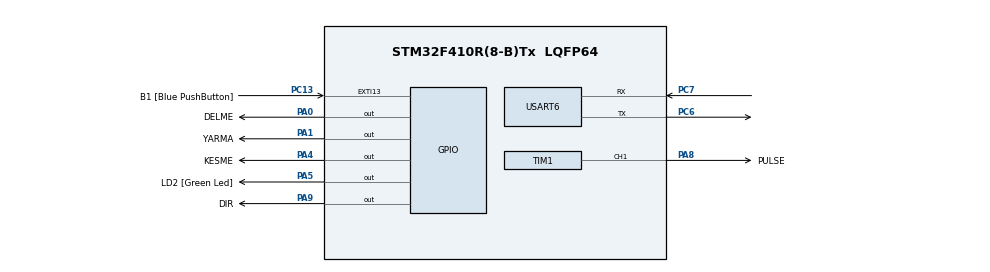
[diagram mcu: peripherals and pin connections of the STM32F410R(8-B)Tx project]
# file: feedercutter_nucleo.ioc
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Mcu.Family=STM32F4
Mcu.Name=STM32F410R(8-B)Tx
Mcu.Package=LQFP64
NVIC.PriorityGroup=NVIC_PRIORITYGROUP_0
NVIC.TIM1_UP_IRQn=true\:0\:0\:false\:false\:true\:true\:true\:true
PA0-WKUP.GPIO_Label=DELME
PA0-WKUP.Signal=GPIO_Output
PA1.GPIO_Label=YARMA
PA1.Signal=GPIO_Output
PA13.GPIO_Label=TMS
PA13.Mode=Serial_Wire
PA13.Signal=SYS_JTMS-SWDIO
PA14.GPIO_Label=TCK
PA14.Mode=Serial_Wire
PA14.Signal=SYS_JTCK-SWCLK
PA2.GPIO_Label=USART_TX
PA2.Signal=USART2_TX
PA3.GPIO_Label=USART_RX
PA3.Signal=USART2_RX
PA4.GPIO_Label=KESME
PA4.Signal=GPIO_Output
PA5.GPIO_Label=LD2 [Green Led]
PA5.Signal=GPIO_Output
PA8.GPIO_Label=PULSE
PA8.Signal=S_TIM1_CH1
PA9.GPIO_Label=DIR
PA9.Signal=GPIO_Output
PB3.GPIO_Label=SWO
PB3.Signal=SYS_JTDO-SWO
PC13-ANTI_TAMP.GPIO_Label=B1 [Blue PushButton]
PC13-ANTI_TAMP.GPIO_ModeDefaultEXTI=GPIO_MODE_IT_FALLING
PC13-ANTI_TAMP.Signal=GPXTI13
PC14-OSC32_IN.Mode=LSE-External-Oscillator
PC14-OSC32_IN.Signal=RCC_OSC32_IN
PC15-OSC32_OUT.Mode=LSE-External-Oscillator
PC15-OSC32_OUT.Signal=RCC_OSC32_OUT
PC6.Mode=Asynchronous
PC6.Signal=USART6_TX
PC7.Mode=Asynchronous
PC7.Signal=USART6_RX
PH0\ -\ OSC_IN.Mode=HSE-External-Clock-Source
PH0\ -\ OSC_IN.Signal=RCC_OSC_IN
PH1\ -\ OSC_OUT.Mode=HSE-External-Clock-Source
PH1\ -\ OSC_OUT.Signal=RCC_OSC_OUT
ProjectManager.HeapSize=0x200
ProjectManager.StackSize=0x400
ProjectManager.TargetToolchain=CMake
RCC.48MHZClocksFreq_Value=50000000
RCC.AHBFreq_Value=100000000
RCC.APB1CLKDivider=RCC_HCLK_DIV2
RCC.APB1Freq_Value=50000000
RCC.APB1TimFreq_Value=100000000
RCC.APB2CLKDivider=RCC_HCLK_DIV2
RCC.APB2Freq_Value=50000000
RCC.APB2TimFreq_Value=100000000
RCC.CortexFreq_Value=100000000
RCC.FLatency-AdvancedSettings=FLASH_LATENCY_3
RCC.HCLKFreq_Value=100000000
RCC.HSE_VALUE=8000000
RCC.HSI_VALUE=16000000
RCC.PLLM=8
RCC.PLLN=100
RCC.SYSCLKFreq_VALUE=100000000
RCC.SYSCLKSource=RCC_SYSCLKSOURCE_PLLCLK
RCC.VCOOutputFreq_Value=200000000
SH.S_TIM1_CH1.0=TIM1_CH1,PWM Generation1 CH1
TIM1.AutoReloadPreload=TIM_AUTORELOAD_PRELOAD_ENABLE
TIM1.Channel-PWM\ Generation1\ CH1=TIM_CHANNEL_1
TIM1.Period=1000
TIM1.Prescaler=99
TIM1.Pulse-PWM\ Generation1\ CH1=50
USART6.VirtualMode=VM_ASYNC
VP_TIM1_VS_ClockSourceINT.Mode=Internal
board=NUCLEO-F410RB

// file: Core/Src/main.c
        /* USER CODE BEGIN Header */
        /**
         ******************************************************************************
        * @file           : main.c
        * @brief          : Main program body
        ******************************************************************************
        * @attention
        *
        * Copyright (c) 2026 STMicroelectronics.
        * All rights reserved.
        *
        * This software is licensed under terms that can be found in the LICENSE file
        * in the root directory of this software component.
        * If no LICENSE file comes with this software, it is provided AS-IS.
        *
        ******************************************************************************
        */
        /* USER CODE END Header */
        /* Includes ------------------------------------------------------------------*/
        #include "main.h"

        /* Private includes ----------------------------------------------------------*/
        /* USER CODE BEGIN Includes */
        #include <stdio.h>
        #include <stdlib.h>
        #include "motor_move.h"
        #include "motor_accel.h"
        #include "process_sequence.h"
        #include "timeline_planner.h"
        #include "sd_manager.h"

        /* USER CODE END Includes */

        /* Private typedef -----------------------------------------------------------*/

        /* Private define ------------------------------------------------------------*/

        /* Private macro -------------------------------------------------------------*/

        /* Private variables ---------------------------------------------------------*/
        TIM_HandleTypeDef htim1;

        UART_HandleTypeDef huart6;

        /* USER CODE BEGIN PV */

        uint32_t currentBatchStart = 0;
        uint32_t totalEvents = 0;
        uint32_t pressWait;
        uint32_t axisOffSteps = 0;
        uint32_t eventIndex = 0;
        MovementState_t processState = SYS_START;
        uint8_t triggerMove = 0;
        uint32_t delayStartTime = 0;
        float stepPerMM;
        uint32_t currentAbsPos = 0;

        float radius = 18.93;
        float circumference;

        volatile MotionState_t state = STATE_IDLE;
        volatile uint32_t stepCounter;
        volatile uint32_t targetSteps;
        volatile uint32_t rampSteps;

        volatile uint32_t cruiseARR = 150;
        volatile uint32_t accelARR = 1200; //i don't know if this is necessary, but i'm afraid to break it
        volatile uint32_t currentARR = 0;
        volatile int32_t  n = 0; //worst variable naming of all time?

        volatile uint8_t motionComplete = 0;

        uint8_t rx_buff[10];

        /* USER CODE END PV */

        /* Private function prototypes -----------------------------------------------*/
        void SystemClock_Config(void);
        static void MX_GPIO_Init(void);
        static void MX_TIM1_Init(void);
        static void MX_USART6_UART_Init(void);
        /* USER CODE BEGIN PFP */
        void moveMotor(uint32_t steps,uint32_t targetARR);
        void processSequence(void);
        void CompileTimeline(uint32_t startPiece);

        /* USER CODE END PFP */

        /* Private user code ---------------------------------------------------------*/

        /**
         * @brief  The application entry point.
         * @retval int
         */
        int main(void)
        {

        /* USER CODE BEGIN 1 */
        circumference = 2 * PI * radius; //around 0.037mm/step now
        stepPerMM = 3200.0f / circumference;

        /* USER CODE END 1 */

        /* MCU Configuration--------------------------------------------------------*/

        /* Reset of all peripherals, Initializes the Flash interface and the Systick. */
        HAL_Init();

        /* Configure the system clock */
        SystemClock_Config();

        /* Initialize all configured peripherals */
        MX_GPIO_Init();
        MX_TIM1_Init();
        MX_USART6_UART_Init();
        /* USER CODE BEGIN 2 */

        HAL_GPIO_WritePin(DIR_GPIO_Port, DIR_Pin, 1); //Set direction to forward
        HAL_GPIO_WritePin(YARMA_GPIO_Port, YARMA_Pin, 1);
        HAL_GPIO_WritePin(KESME_GPIO_Port, KESME_Pin, 1);
        HAL_GPIO_WritePin(DELME_GPIO_Port, DELME_Pin, 1);

        HAL_GPIO_WritePin(KESME_GPIO_Port, KESME_Pin, 0);
        HAL_Delay(1500);
        HAL_GPIO_WritePin(KESME_GPIO_Port, KESME_Pin, 1);
        HAL_Delay(500);

        currentAbsPos = (uint32_t)(K_OFFSET_STEPS * stepPerMM + 0.5f);

        HAL_GPIO_WritePin(GPIOA, LD2_Pin, GPIO_PIN_SET); // Turn on onboard LED
        char *testMsg = "UART is alive!\r\n";
        HAL_UART_Transmit(&huart6, (uint8_t*)testMsg, 16, 1000);

        CompileTimeline(0);

        eventIndex = 0;

        for (uint32_t i = 0; i < totalEvents; i++) {
            if (finalTimeline[i].absoluteSteps > currentAbsPos) {
                eventIndex = i;
                break;
            }
        }

        char msg[64];
        int len = sprintf(msg, "Total Events: %lu\r\n", totalEvents);
        HAL_UART_Transmit(&huart6, (uint8_t*)msg, len, 100);

        triggerMove = 1;

        /* USER CODE END 2 */

        /* Infinite loop */
        /* USER CODE BEGIN WHILE */
        while (1)
        {
            processSequence();
            /* USER CODE END WHILE */

        }
        }

        /**
         * @brief System Clock Configuration
         * @retval None
         */
        void SystemClock_Config(void)
        {
        RCC_OscInitTypeDef RCC_OscInitStruct = {0};
        RCC_ClkInitTypeDef RCC_ClkInitStruct = {0};

        /** Configure the main internal regulator output voltage
         */
        __HAL_RCC_PWR_CLK_ENABLE();
        __HAL_PWR_VOLTAGESCALING_CONFIG(PWR_REGULATOR_VOLTAGE_SCALE1);

        /** Initializes the RCC Oscillators according to the specified parameters
         * in the RCC_OscInitTypeDef structure.
         */
        RCC_OscInitStruct.OscillatorType = RCC_OSCILLATORTYPE_HSI;
        RCC_OscInitStruct.HSIState = RCC_HSI_ON;
        RCC_OscInitStruct.HSICalibrationValue = RCC_HSICALIBRATION_DEFAULT;
        RCC_OscInitStruct.PLL.PLLState = RCC_PLL_ON;
        RCC_OscInitStruct.PLL.PLLSource = RCC_PLLSOURCE_HSI;
        RCC_OscInitStruct.PLL.PLLM = 8;
        RCC_OscInitStruct.PLL.PLLN = 100;
        RCC_OscInitStruct.PLL.PLLP = RCC_PLLP_DIV2;
        RCC_OscInitStruct.PLL.PLLQ = 4;
        RCC_OscInitStruct.PLL.PLLR = 2;
        if (HAL_RCC_OscConfig(&RCC_OscInitStruct) != HAL_OK)
        {
            Error_Handler();
        }

        /** Initializes the CPU, AHB and APB buses clocks
         */
        RCC_ClkInitStruct.ClockType = RCC_CLOCKTYPE_HCLK|RCC_CLOCKTYPE_SYSCLK
                                    |RCC_CLOCKTYPE_PCLK1|RCC_CLOCKTYPE_PCLK2;
        RCC_ClkInitStruct.SYSCLKSource = RCC_SYSCLKSOURCE_PLLCLK;
        RCC_ClkInitStruct.AHBCLKDivider = RCC_SYSCLK_DIV1;
        RCC_ClkInitStruct.APB1CLKDivider = RCC_HCLK_DIV2;
        RCC_ClkInitStruct.APB2CLKDivider = RCC_HCLK_DIV2;

        if (HAL_RCC_ClockConfig(&RCC_ClkInitStruct, FLASH_LATENCY_3) != HAL_OK)
        {
            Error_Handler();
        }
        }

        /**
         * @brief TIM1 Initialization Function
         * @param None
         * @retval None
         */
        static void MX_TIM1_Init(void)
        {

        TIM_ClockConfigTypeDef sClockSourceConfig = {0};
        TIM_MasterConfigTypeDef sMasterConfig = {0};
        TIM_OC_InitTypeDef sConfigOC = {0};
        TIM_BreakDeadTimeConfigTypeDef sBreakDeadTimeConfig = {0};

        htim1.Instance = TIM1;
        htim1.Init.Prescaler = 99;
        htim1.Init.CounterMode = TIM_COUNTERMODE_UP;
        htim1.Init.Period = 1000;
        htim1.Init.ClockDivision = TIM_CLOCKDIVISION_DIV1;
        htim1.Init.RepetitionCounter = 0;
        htim1.Init.AutoReloadPreload = TIM_AUTORELOAD_PRELOAD_ENABLE;
        if (HAL_TIM_Base_Init(&htim1) != HAL_OK)
        {
            Error_Handler();
        }
        sClockSourceConfig.ClockSource = TIM_CLOCKSOURCE_INTERNAL;
        if (HAL_TIM_ConfigClockSource(&htim1, &sClockSourceConfig) != HAL_OK)
        {
            Error_Handler();
        }
        if (HAL_TIM_PWM_Init(&htim1) != HAL_OK)
        {
            Error_Handler();
        }
        sMasterConfig.MasterOutputTrigger = TIM_TRGO_RESET;
        sMasterConfig.MasterSlaveMode = TIM_MASTERSLAVEMODE_DISABLE;
        if (HAL_TIMEx_MasterConfigSynchronization(&htim1, &sMasterConfig) != HAL_OK)
        {
            Error_Handler();
        }
        sConfigOC.OCMode = TIM_OCMODE_PWM1;
        sConfigOC.Pulse = 50;
        sConfigOC.OCPolarity = TIM_OCPOLARITY_HIGH;
        sConfigOC.OCNPolarity = TIM_OCNPOLARITY_HIGH;
        sConfigOC.OCFastMode = TIM_OCFAST_DISABLE;
        sConfigOC.OCIdleState = TIM_OCIDLESTATE_RESET;
        sConfigOC.OCNIdleState = TIM_OCNIDLESTATE_RESET;
        if (HAL_TIM_PWM_ConfigChannel(&htim1, &sConfigOC, TIM_CHANNEL_1) != HAL_OK)
        {
            Error_Handler();
        }
        sBreakDeadTimeConfig.OffStateRunMode = TIM_OSSR_DISABLE;
        sBreakDeadTimeConfig.OffStateIDLEMode = TIM_OSSI_DISABLE;
        sBreakDeadTimeConfig.LockLevel = TIM_LOCKLEVEL_OFF;
        sBreakDeadTimeConfig.DeadTime = 0;
        sBreakDeadTimeConfig.BreakState = TIM_BREAK_DISABLE;
        sBreakDeadTimeConfig.BreakPolarity = TIM_BREAKPOLARITY_HIGH;
        sBreakDeadTimeConfig.AutomaticOutput = TIM_AUTOMATICOUTPUT_DISABLE;
        if (HAL_TIMEx_ConfigBreakDeadTime(&htim1, &sBreakDeadTimeConfig) != HAL_OK)
        {
            Error_Handler();
        }
        HAL_TIM_MspPostInit(&htim1);

        }

        /**
         * @brief USART6 Initialization Function
         * @param None
         * @retval None
         */
        static void MX_USART6_UART_Init(void)
        {

        huart6.Instance = USART6;
        huart6.Init.BaudRate = 115200;
        huart6.Init.WordLength = UART_WORDLENGTH_8B;
        huart6.Init.StopBits = UART_STOPBITS_1;
        huart6.Init.Parity = UART_PARITY_NONE;
        huart6.Init.Mode = UART_MODE_TX_RX;
        huart6.Init.HwFlowCtl = UART_HWCONTROL_NONE;
        huart6.Init.OverSampling = UART_OVERSAMPLING_16;
        if (HAL_UART_Init(&huart6) != HAL_OK)
        {
            Error_Handler();
        }

        }

        /**
         * @brief GPIO Initialization Function
         * @param None
         * @retval None
         */
        static void MX_GPIO_Init(void)
        {
        GPIO_InitTypeDef GPIO_InitStruct = {0};

        /* GPIO Ports Clock Enable */
        __HAL_RCC_GPIOC_CLK_ENABLE();
        __HAL_RCC_GPIOH_CLK_ENABLE();
        __HAL_RCC_GPIOA_CLK_ENABLE();
        __HAL_RCC_GPIOB_CLK_ENABLE();

        /*Configure GPIO pin Output Level */
        HAL_GPIO_WritePin(GPIOA, DELME_Pin|YARMA_Pin|KESME_Pin|LD2_Pin
                                |DIR_Pin, GPIO_PIN_RESET);

        /*Configure GPIO pin : B1_Pin */
        GPIO_InitStruct.Pin = B1_Pin;
        GPIO_InitStruct.Mode = GPIO_MODE_IT_FALLING;
        GPIO_InitStruct.Pull = GPIO_NOPULL;
        HAL_GPIO_Init(B1_GPIO_Port, &GPIO_InitStruct);

        /*Configure GPIO pins : DELME_Pin YARMA_Pin KESME_Pin LD2_Pin
                                DIR_Pin */
        GPIO_InitStruct.Pin = DELME_Pin|YARMA_Pin|KESME_Pin|LD2_Pin
                                |DIR_Pin;
        GPIO_InitStruct.Mode = GPIO_MODE_OUTPUT_PP;
        GPIO_InitStruct.Pull = GPIO_NOPULL;
        GPIO_InitStruct.Speed = GPIO_SPEED_FREQ_LOW;
        HAL_GPIO_Init(GPIOA, &GPIO_InitStruct);

        /*Configure GPIO pins : USART_TX_Pin USART_RX_Pin */
        GPIO_InitStruct.Pin = USART_TX_Pin|USART_RX_Pin;
        GPIO_InitStruct.Mode = GPIO_MODE_AF_PP;
        GPIO_InitStruct.Pull = GPIO_NOPULL;
        GPIO_InitStruct.Speed = GPIO_SPEED_FREQ_VERY_HIGH;
        GPIO_InitStruct.Alternate = GPIO_AF7_USART2;
        HAL_GPIO_Init(GPIOA, &GPIO_InitStruct);

        }

        /**
         * @brief  This function is executed in case of error occurrence.
         * @retval None
         */
        void Error_Handler(void)
        {
        __disable_irq();
        while (1)
        {
        }
        }
        #ifdef USE_FULL_ASSERT
        /**
         * @brief  Reports the name of the source file and the source line number
         *         where the assert_param error has occurred.
         * @param  file: pointer to the source file name
         * @param  line: assert_param error line source number
         * @retval None
         */
        void assert_failed(uint8_t *file, uint32_t line)
        {
        }
        #endif /* USE_FULL_ASSERT */
